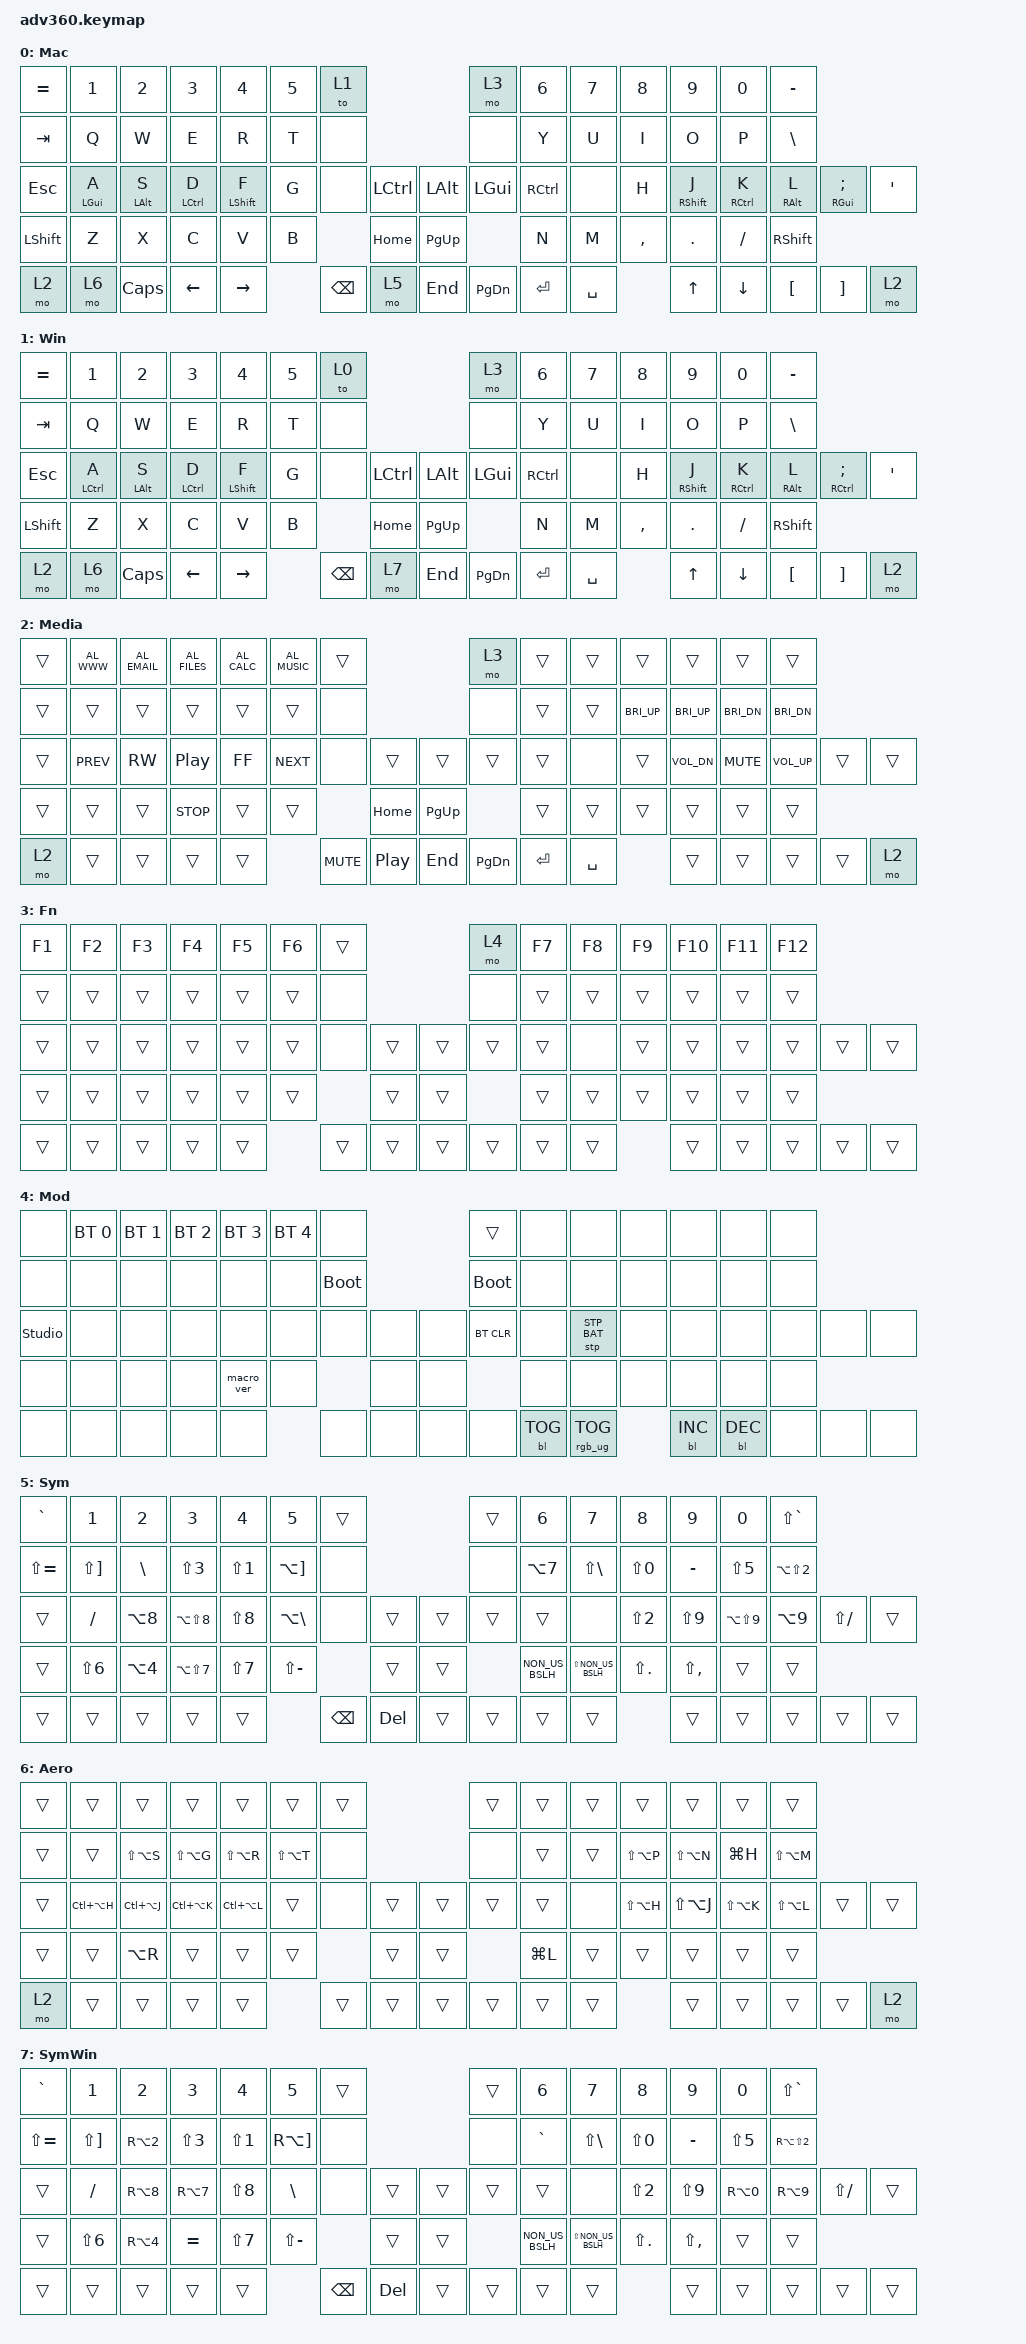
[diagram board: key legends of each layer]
/*
 * ╔══════════════════════════════════════════════════════════════════════════════╗
 * ║           Kinesis Advantage 360 Pro — Custom ZMK Keymap                    ║
 * ║                                                                              ║
 * ║  OS Target  : macOS (Layer 0) + Windows (Layer 1)                           ║
 * ║  Language   : Norwegian / Nordic input source                               ║
 * ║                                                                              ║
 * ║  Layer map:                                                                  ║
 * ║    0  Mac      — Base layer, macOS homerow mods (GUI/Alt/Ctrl/Shift)        ║
 * ║    1  Win      — Base layer, Windows homerow mods (Ctrl/Alt/Ctrl/Shift)     ║
 * ║    2  Media    — Transport, volume, brightness, app launchers               ║
 * ║    3  Fn       — F1–F12 function keys                                       ║
 * ║    4  Mod      — Bluetooth, RGB, backlight, firmware                        ║
 * ║    5  Sym      — Symbols (optimised for macOS Norwegian + ANSI hardware)    ║
 * ╚══════════════════════════════════════════════════════════════════════════════╝
 *
 * ── Physical key grid positions (76 total per layer) ───────────────────────────
 *
 *  Row 1  [ 1– 7]  [ 8–14]   =  1  2  3  4  5  [iL]   [iR]  6  7  8  9  0  -
 *  Row 2  [15–21]  [22–28]   Tab Q  W  E  R  T  [iL]   [iR]  Y  U  I  O  P  \
 *  Row 3  [29–46]  (includes 4 thumb keys at positions 36–39)
 *                            Esc A  S  D  F  G  [iL] TL TR TR TR [iR]  H  J  K  L  ;  '
 *  Row 4  [47–60]  (2 inner keys at positions 53–54)
 *                            LS  Z  X  C  V  B      [Ho][Pu]      N  M  ,  .  /  RS
 *  Row 5  [61–76]  (6 thumb keys at positions 66–71)
 *                            m2  §  Ca ←  →    [T1][T2][T3] [T4][T5][T6]   ↑  ↓  å  ¨  m2
 *
 *  Thumb cluster (positions 66–71):
 *    T1=BSPC  T2=mo5(Sym)  T3=END  │  T4=PgDn  T5=ENTER  T6=SPACE
 *
 * ── macOS Norwegian verified keycode → output reference ────────────────────────
 *
 *   ZMK keycode       Output    ZMK keycode          Output
 *   ──────────────────────────  ──────────────────────────────
 *   All keycodes CONFIRMED on macOS Norwegian + ISO keyboard type (your setup).
 *
 *   ZMK keycode       Output    ZMK keycode          Output
 *   ──────────────────────────  ──────────────────────────────
 *   FSLH              -         LS(FSLH)             _
 *   MINUS             +         LS(MINUS)            ?
 *   BSLH              @  ←!     LS(BSLH)             *
 *   LA(BSLH)          '         LS(EQUAL)            `  (backtick)
 *   EQUAL             ´ (dead)  GRAVE                §
 *   LS(GRAVE)         °         LS(RBKT)             ^
 *   LBKT              å         LS(LBKT)             Å
 *   RBKT              ¨ (dead)  LA(RBKT)             ~  ⚠ dead key
 *   SEMI              ø         LS(SEMI)             Ø
 *   SQT               æ         LS(SQT)              Æ
 *   LS(COMMA)         ;         LS(DOT)              :
 *   LS(N1)            !         LS(N2)               "
 *   LS(N3)            #         LS(N5)               %
 *   LS(N6)            &         LS(N7)               /
 *   LS(N8)            (         LS(N9)               )
 *   LS(N0)            =
 *   LA(N2)            ™         LA(N4)               $
 *   LA(N6)            §  (!)    LA(N7)               |
 *   LA(LS(N7))        \         LA(N8)               [
 *   LA(N9)            ]         LA(LS(N8))           {
 *   LA(LS(N9))        }
 *
 *  ← BSLH = @ is the dedicated @ key on Norwegian ISO — no modifier needed!
 *  ⚠  LA(RBKT) → ~ is a dead key. Works fine, press then Space if needed.
 *  ⚠  < and > require ISO NUBS key, not present on the Adv360.
 *     Workaround: add "ABC" as a second macOS input source for coding.
 */

#include <dt-bindings/zmk/stp.h>
#include <behaviors.dtsi>
#include <dt-bindings/zmk/backlight.h>
#include <dt-bindings/zmk/bt.h>
#include <dt-bindings/zmk/keys.h>
#include <dt-bindings/zmk/rgb.h>

/ {
    behaviors {
        #include "macros.dtsi"
        #include "version.dtsi"

        /*
         * hm — Homerow Mod (hold-tap)
         * Hold = modifier, Tap = character
         * tapping-term-ms 200ms : window to decide tap vs hold
         * quick-tap-ms    175ms : fast double-tap repeats the tap key
         * flavor tap-preferred  : prefers tap unless held past term
         */
        hm: homerow_mods {
            compatible = "zmk,behavior-hold-tap";
            label = "HOMEROW_MODS";
            #binding-cells = <2>;
            tapping-term-ms = <200>;
            quick-tap-ms = <175>;
            flavor = "tap-preferred";
            bindings = <&kp &kp>;
        };
    };

    keymap {
        compatible = "zmk,keymap";

        /* ╔══════════════════════════════════════════════════════════════════╗
           ║  LAYER 0 — MAC BASE                                             ║
           ║                                                                  ║
           ║  QWERTY with macOS homerow mods on ASDF / JKL;                 ║
           ║  Hold: A=GUI  S=Alt  D=Ctrl  F=Shift (mirrored right hand)     ║
           ║  [inner-top-L] = switch to Win layer                            ║
           ║  [T2] = hold for Sym layer (mo 5)                               ║
           ║  [mo2-L/R] = hold for Media layer                               ║
           ╚══════════════════════════════════════════════════════════════════╝ */
        default_layer {
            display-name = "Mac";
            bindings = <
/* ── Row 1: number row ── pos 1–7 left │ pos 8–14 right ── */
/*[1]=     [2]=1     [3]=2     [4]=3     [5]=4     [6]=5     [7]=to-Win       [8]=mo-Fn  [9]=6     [10]=7    [11]=8    [12]=9    [13]=0    [14]=+     */
  &kp EQUAL &kp N1    &kp N2    &kp N3    &kp N4    &kp N5    &to 1                      &mo 3      &kp N6    &kp N7    &kp N8    &kp N9    &kp N0    &kp MINUS
/* ── Row 2: QWERTY top row ── pos 15–21 left │ pos 22–28 right ── */
/*[15]=Tab [16]=Q    [17]=W    [18]=E    [19]=R    [20]=T    [21]=none        [22]=none  [23]=Y    [24]=U    [25]=I    [26]=O    [27]=P    [28]='    */
  &kp TAB   &kp Q     &kp W     &kp E     &kp R     &kp T     &none                      &none      &kp Y     &kp U     &kp I     &kp O     &kp P     &kp BSLH
/* ── Row 3: home row + 4 thumb keys (pos 36–39) ── pos 29–35 left │ 36–39 thumbs │ 40–46 right ── */
/*[29]=Esc [30]=A    [31]=S    [32]=D    [33]=F    [34]=G    [35]=none [36]=Ctrl [37]=Alt  [38]=GUI  [39]=Ctrl [40]=none [41]=H    [42]=J    [43]=K    [44]=L    [45]=ø    [46]=æ   */
  &kp ESC   &hm LGUI A &hm LALT S &hm LCTRL D &hm LSHFT F &kp G &none  &kp LCTRL &kp LALT  &kp LGUI  &kp RCTRL &none     &kp H     &hm RSHFT J &hm RCTRL K &hm RALT L &hm RGUI SEMI &kp SQT
/* ── Row 4: bottom row + 2 inner thumb-adjacent keys (pos 53–54) ── pos 47–52 left │ 53–54 inner │ 55–60 right ── */
/*[47]=LS  [48]=Z    [49]=X    [50]=C    [51]=V    [52]=B    [53]=Home [54]=PgUp [55]=N    [56]=M    [57]=,    [58]=.    [59]=-    [60]=RS   */
  &kp LSHFT &kp Z     &kp X     &kp C     &kp V     &kp B               &kp HOME  &kp PG_UP           &kp N     &kp M     &kp COMMA &kp DOT   &kp FSLH  &kp RSHFT
/* ── Row 5: nav row + 6 thumb keys (pos 66–71) ── pos 61–65 left │ 66–71 thumbs │ 72–76 right ── */
/*[61]=m2  [62]=Aero [63]=Caps [64]=←    [65]=→    [66]=BSPC [67]=Sym  [68]=End  [69]=PgDn [70]=Ent  [71]=Spc  [72]=↑    [73]=↓    [74]=å    [75]=¨    [76]=m2   */
  &mo 2     &mo 6     &kp CAPS  &kp LEFT  &kp RIGHT           &kp BSPC  &mo 5     &kp END   &kp PG_DN &kp ENTER &kp SPACE           &kp UP    &kp DOWN  &kp LBKT  &kp RBKT  &mo 2
            >;
        };

        /* ╔══════════════════════════════════════════════════════════════════╗
           ║  LAYER 1 — WINDOWS BASE                                         ║
           ║                                                                  ║
           ║  Same layout as Mac but homerow mods adjusted for Windows:      ║
           ║  Hold: A=Ctrl  S=Alt  D=Ctrl  F=Shift                          ║
           ║  T2 = Sym layer (same as Mac)                                   ║
           ╚══════════════════════════════════════════════════════════════════╝ */
        win_layer {
            display-name = "Win";
            bindings = <
/* ── Row 1 ── */
/*[1]=     [2]=1     [3]=2     [4]=3     [5]=4     [6]=5     [7]=to-Mac       [8]=mo-Fn  [9]=6     [10]=7    [11]=8    [12]=9    [13]=0    [14]=+    */
  &kp EQUAL &kp N1    &kp N2    &kp N3    &kp N4    &kp N5    &to 0                      &mo 3      &kp N6    &kp N7    &kp N8    &kp N9    &kp N0    &kp MINUS
/* ── Row 2 ── */
/*[15]=Tab [16]=Q    [17]=W    [18]=E    [19]=R    [20]=T    [21]=none        [22]=none  [23]=Y    [24]=U    [25]=I    [26]=O    [27]=P    [28]='    */
  &kp TAB   &kp Q     &kp W     &kp E     &kp R     &kp T     &none                      &none      &kp Y     &kp U     &kp I     &kp O     &kp P     &kp BSLH
/* ── Row 3 + thumbs ── */
/*[29]=Esc [30]=A    [31]=S    [32]=D    [33]=F    [34]=G    [35]=none [36]=Ctrl [37]=Alt  [38]=GUI  [39]=Ctrl [40]=none [41]=H    [42]=J    [43]=K    [44]=L    [45]=ø    [46]=æ   */
  &kp ESC   &hm LCTRL A &hm LALT S &hm LCTRL D &hm LSHFT F &kp G &none &kp LCTRL &kp LALT  &kp LGUI  &kp RCTRL &none     &kp H     &hm RSHFT J &hm RCTRL K &hm RALT L &hm RCTRL SEMI &kp SQT
/* ── Row 4 ── */
/*[47]=LS  [48]=Z    [49]=X    [50]=C    [51]=V    [52]=B    [53]=Home [54]=PgUp [55]=N    [56]=M    [57]=,    [58]=.    [59]=-    [60]=RS   */
  &kp LSHFT &kp Z     &kp X     &kp C     &kp V     &kp B               &kp HOME  &kp PG_UP           &kp N     &kp M     &kp COMMA &kp DOT   &kp FSLH  &kp RSHFT
/* ── Row 5 + thumbs ── */
/*[61]=m2  [62]=Aero [63]=Caps [64]=←    [65]=→    [66]=BSPC [67]=SymW [68]=End  [69]=PgDn [70]=Ent  [71]=Spc  [72]=↑    [73]=↓    [74]=å    [75]=¨    [76]=m2   */
  &mo 2     &mo 6     &kp CAPS  &kp LEFT  &kp RIGHT           &kp BSPC  &mo 7     &kp END   &kp PG_DN &kp ENTER &kp SPACE           &kp UP    &kp DOWN  &kp LBKT  &kp RBKT  &mo 2
            >;
        };

        /* ╔══════════════════════════════════════════════════════════════════╗
           ║  LAYER 2 — MEDIA                                                 ║
           ║                                                                  ║
           ║  Left hand  → Playback transport                                 ║
           ║  Right hand → Volume + Brightness                                ║
           ║  Row 1      → App launchers (browser, mail, files, calc, music)  ║
           ║  Thumb T1   → Mute     Thumb T2 → Play/Pause                    ║
           ║                                                                  ║
           ║  Home row transport (left hand):                                 ║
           ║    A=|<<   S=◀◀   D=▶/⏸   F=▶▶   G=>>|                        ║
           ║  Home row volume (right hand):                                   ║
           ║    J=Vol-   K=Mute   L=Vol+                                     ║
           ╚══════════════════════════════════════════════════════════════════╝ */
        media {
            display-name = "Media";
            bindings = <
/* ── Row 1: app launchers on inner keys ── */
/*[1]=     [2]=Web   [3]=Mail  [4]=Files [5]=Calc  [6]=Music [7]=trans        [8]=mo-Fn  [9]=trans [10]=trans[11]=trans[12]=trans[13]=trans[14]=trans */
  &trans    &kp C_AL_WWW &kp C_AL_EMAIL &kp C_AL_FILES &kp C_AL_CALC &kp C_AL_MUSIC &trans   &mo 3      &trans    &trans    &trans    &trans    &trans    &trans
/* ── Row 2: brightness on right hand ── */
/*[15]=tr  [16]=tr   [17]=tr   [18]=tr   [19]=tr   [20]=tr   [21]=none        [22]=none  [23]=tr   [24]=tr   [25]=Br+  [26]=Br+  [27]=Br-  [28]=Br-  */
  &trans    &trans    &trans    &trans    &trans    &trans    &none                      &none      &trans    &trans    &kp C_BRI_UP &kp C_BRI_UP &kp C_BRI_DN &kp C_BRI_DN
/* ── Row 3: transport left / volume right + thumbs pass-through ── */
/*[29]=tr  [30]=|<<  [31]=◀◀   [32]=▶/⏸ [33]=▶▶   [34]=>>|  [35]=none [36]=tr   [37]=tr   [38]=tr   [39]=tr   [40]=none [41]=tr   [42]=Vol- [43]=Mute [44]=Vol+ [45]=tr   [46]=tr  */
  &trans    &kp C_PREV &kp C_RW &kp C_PP  &kp C_FF  &kp C_NEXT &none   &trans    &trans    &trans    &trans    &none     &trans    &kp C_VOL_DN &kp C_MUTE &kp C_VOL_UP &trans  &trans
/* ── Row 4: stop on left, nav pass-through ── */
/*[47]=tr  [48]=tr   [49]=tr   [50]=Stop [51]=tr   [52]=tr   [53]=Home [54]=PgUp [55]=tr   [56]=tr   [57]=tr   [58]=tr   [59]=tr   [60]=tr   */
  &trans    &trans    &trans    &kp C_STOP &trans   &trans              &kp HOME  &kp PG_UP           &trans    &trans    &trans    &trans    &trans    &trans
/* ── Row 5: Mute on T1, Play/Pause on T2, rest pass-through ── */
/*[61]=m2  [62]=tr   [63]=tr   [64]=tr   [65]=tr   [66]=Mute [67]=▶/⏸ [68]=End  [69]=PgDn [70]=Ent  [71]=Spc  [72]=tr   [73]=tr   [74]=tr   [75]=tr   [76]=m2   */
  &mo 2     &trans    &trans    &trans    &trans              &kp C_MUTE &kp C_PP &kp END   &kp PG_DN &kp ENTER &kp SPACE           &trans    &trans    &trans    &trans    &mo 2
            >;
        };

        /* ╔══════════════════════════════════════════════════════════════════╗
           ║  LAYER 3 — FN (FUNCTION KEYS)                                    ║
           ║                                                                  ║
           ║  F1–F6 on left number row, F7–F12 on right number row            ║
           ║  All other keys transparent (pass through to active base layer)  ║
           ╚══════════════════════════════════════════════════════════════════╝ */
        fn {
            display-name = "Fn";
            bindings = <
/* ── Row 1: F keys ── */
/*[1]=F1   [2]=F2    [3]=F3    [4]=F4    [5]=F5    [6]=F6    [7]=trans        [8]=mo-Mod [9]=F7    [10]=F8   [11]=F9   [12]=F10  [13]=F11  [14]=F12  */
  &kp F1    &kp F2    &kp F3    &kp F4    &kp F5    &kp F6    &trans                     &mo 4      &kp F7    &kp F8    &kp F9    &kp F10   &kp F11   &kp F12
/* ── Rows 2–5: all transparent ── */
  &trans    &trans    &trans    &trans    &trans    &trans    &none                      &none      &trans    &trans    &trans    &trans    &trans    &trans
  &trans    &trans    &trans    &trans    &trans    &trans    &none     &trans    &trans    &trans    &trans    &none     &trans    &trans    &trans    &trans    &trans    &trans
  &trans    &trans    &trans    &trans    &trans    &trans              &trans    &trans              &trans    &trans    &trans    &trans    &trans    &trans
  &trans    &trans    &trans    &trans    &trans              &trans    &trans    &trans    &trans    &trans    &trans              &trans    &trans    &trans    &trans    &trans
            >;
        };

        /* ╔══════════════════════════════════════════════════════════════════╗
           ║  LAYER 4 — MOD (BLUETOOTH / RGB / BACKLIGHT / FIRMWARE)         ║
           ║                                                                  ║
           ║  Row 1  N1–N5 : Bluetooth profile select 0–4                    ║
           ║  Row 2  inner : Bootloader on both inner column keys             ║
           ║  Row 3  left  : studio_unlock (enables ZMK Studio live edit)     ║
           ║  Row 3  right : BT clear, battery status                         ║
           ║  Row 4  V     : firmware version macro                           ║
           ║  Row 5  T5/T6 : backlight toggle/inc/dec + RGB toggle            ║
           ╚══════════════════════════════════════════════════════════════════╝ */
        mod {
            display-name = "Mod";
            bindings = <
/* ── Row 1: Bluetooth profile select ── */
/*[1]=none [2]=BT0   [3]=BT1   [4]=BT2   [5]=BT3   [6]=BT4   [7]=none         [8]=trans  [9]=none  [10]=none [11]=none [12]=none [13]=none [14]=none */
  &none     &bt BT_SEL 0 &bt BT_SEL 1 &bt BT_SEL 2 &bt BT_SEL 3 &bt BT_SEL 4 &none       &trans     &none     &none     &none     &none     &none     &none
/* ── Row 2: bootloader on both inner column keys ── */
/*[15]=none[16]=none [17]=none [18]=none [19]=none [20]=none [21]=BOOT        [22]=BOOT  [23]=none [24]=none [25]=none [26]=none [27]=none [28]=none */
  &none     &none     &none     &none     &none     &none     &bootloader                &bootloader &none     &none     &none     &none     &none     &none
/* ── Row 3: studio unlock left / BT clear + battery right ── */
/*[29]=UNLK[30]=none [31]=none [32]=none [33]=none [34]=none [35]=none [36]=none [37]=none [38]=BTclr[39]=none [40]=BAT  [41]=none [42]=none [43]=none [44]=none [45]=none [46]=none */
  &studio_unlock &none &none   &none     &none     &none     &none     &none     &none     &bt BT_CLR &none    &stp STP_BAT &none  &none     &none     &none     &none     &none
/* ── Row 4: firmware version on V key ── */
/*[47]=none[48]=none [49]=none [50]=none [51]=FWver[52]=none [53]=none [54]=none [55]=none [56]=none [57]=none [58]=none [59]=none [60]=none */
  &none     &none     &none     &none     &macro_ver &none               &none     &none               &none     &none     &none     &none     &none     &none
/* ── Row 5: backlight and RGB on thumb cluster ── */
/*[61]=none[62]=none [63]=none [64]=none [65]=none [66]=none [67]=none [68]=none [69]=none [70]=BLtog[71]=RGBtg[72]=BLinc[73]=BLdec[74]=none [75]=none [76]=none */
  &none     &none     &none     &none     &none               &none     &none     &none     &none     &bl BL_TOG &rgb_ug RGB_TOG     &bl BL_INC &bl BL_DEC &none   &none     &none
            >;
        };

        /* ╔══════════════════════════════════════════════════════════════════╗
           ║  LAYER 5 — SYM (SYMBOLS)                                        ║
           ║                                                                  ║
           ║  Hold [T2] on base layer to activate.                            ║
           ║                                                                  ║
           ║  Home row — left opens, right closes:                            ║
           ║    A={   S=[   D=(   F=|   G=\                                  ║
           ║    H=/   J=)   K=]   L=}   ;=~                                  ║
           ║                                                                  ║
           ║  Upper row (QWERTY keys):                                        ║
           ║    Tab=`  Q=!  W=@  E=#  R=$  T=%                               ║
           ║    Y=^   U=&   I=*  O=+  P==  \=€                               ║
           ║                                                                  ║
           ║  Lower row:                                                      ║
           ║    Z=;   X=:   C=,   V=.   B=?   N="   M=-   ,=_               ║
           ║                                                                  ║
           ║  Number row edges: = → §   - → °                                ║
           ║                                                                  ║
           ║  All confirmed on macOS Norwegian ISO + Ghostty                  ║
           ║  (macos-option-as-alt = false required in Ghostty config)        ║
           ╚══════════════════════════════════════════════════════════════════╝ */
        symbol {
            display-name = "Sym";
            bindings = <

/* ── Row 1: § on far left, numbers pass through, ° on far right ── */
/*[1]=§    [2]=1     [3]=2     [4]=3     [5]=4     [6]=5     [7]=trans        [8]=trans  [9]=6     [10]=7    [11]=8    [12]=9    [13]=0    [14]=°    */
  &kp GRAVE &kp N1    &kp N2    &kp N3    &kp N4    &kp N5    &trans                     &trans     &kp N6    &kp N7    &kp N8    &kp N9    &kp N0    &kp LS(GRAVE)

/* ── Row 2: Q=^  W=@  E=#  R=!  T=~  │  Y=|  U=*  I==  O=+  P=%  \=€ ── */
/*[15]=`   [16]=^    [17]=@    [18]=#    [19]=!    [20]=~    [21]=none        [22]=none  [23]=|    [24]=*    [25]==    [26]=+    [27]=%    [28]=€    */
/* Tab=`(bonus)  W=@ via BSLH (dedicated @ key, no modifier)                 */
/* T=~ via LA(RBKT) — dead key, works fine, press then Space if needed        */
/* N/M=<> via NON_US_BSLH — works if macOS detected keyboard as ISO type      */
  &kp LS(EQUAL) &kp LS(RBKT) &kp BSLH &kp LS(N3) &kp LS(N1) &kp LA(RBKT) &none        &none      &kp LA(N7) &kp LS(BSLH) &kp LS(N0) &kp MINUS &kp LS(N5) &kp LA(LS(N2))

/* ── Row 3: HOME ROW — A=-  S=[  D={  F=(  G='  │  H="  J=)  K=}  L=]  ø=_ ── */
/*[29]=tr  [30]=-    [31]=[    [32]={    [33]=(    [34]='    [35]=none [36]=tr [37]=tr [38]=tr [39]=tr [40]=none [41]="    [42]=)    [43]=}    [44]=]    [45]=_    [46]=tr  */
  &trans    &kp FSLH  &kp LA(N8) &kp LA(LS(N8)) &kp LS(N8) &kp LA(BSLH) &none  &trans  &trans  &trans  &trans  &none  &kp LS(N2) &kp LS(N9) &kp LA(LS(N9)) &kp LA(N9) &kp LS(FSLH) &trans

/* ── Row 4: Z=&  X=$  C=\  V=/  B=?  │  N=<  M=>  ,=:  .=;  ── */
/*[47]=tr  [48]=&    [49]=$    [50]=\    [51]=/    [52]=?    [53]=tr   [54]=tr   [55]=<    [56]=>    [57]=:    [58]=;    [59]=tr   [60]=tr   */
  &trans    &kp LS(N6) &kp LA(N4) &kp LA(LS(N7)) &kp LS(N7) &kp LS(MINUS)  &trans  &trans  &kp NON_US_BSLH &kp LS(NON_US_BSLH) &kp LS(DOT) &kp LS(COMMA) &trans &trans

/* ── Row 5: BSPC on T1, DEL on T2, rest transparent ── */
/*[61]=tr  [62]=tr   [63]=tr   [64]=tr   [65]=tr   [66]=BSPC [67]=DEL  [68]=tr   [69]=tr   [70]=tr   [71]=tr   [72]=tr   [73]=tr   [74]=tr   [75]=tr   [76]=tr   */
  &trans    &trans    &trans    &trans    &trans              &kp BSPC  &kp DEL   &trans    &trans    &trans    &trans              &trans    &trans    &trans    &trans    &trans

            >;
        };

        /* ── Reserved layers ─────────────────────────────────────────────── */

        /* ╔══════════════════════════════════════════════════════════════════╗
           ║  LAYER 6 — AEROSPACE (window manager)                            ║
           ║                                                                  ║
           ║  Activated by holding the § key (pos 62, bottom-left area).      ║
           ║                                                                  ║
           ║  Focus windows  : H J K L  (shift-alt-h/j/k/l)                  ║
           ║  Move window    : A S D F  (ctrl-alt-h/j/k/l)                   ║
           ║  Move to monitor: W E      (shift-alt-s / shift-alt-g)           ║
           ║  Move to ws     : I O      (shift-alt-p / shift-alt-n)           ║
           ║  Workspace prev : P        (cmd-h)                               ║
           ║  Workspace next : N        (cmd-l)                               ║
           ║  Resize mode    : X        (alt-r, then hjkl, ESC to exit)       ║
           ║  Fullscreen     : \        (shift-alt-m)                         ║
           ║  Rotate layout  : R        (shift-alt-r)                         ║
           ║  Float/tile     : T        (shift-alt-t)                         ║
           ╚══════════════════════════════════════════════════════════════════╝ */
        aerospace {
            display-name = "Aero";
            bindings = <

/* ── Row 1: all transparent ── */
  &trans    &trans    &trans    &trans    &trans    &trans    &trans                     &trans     &trans    &trans    &trans    &trans    &trans    &trans

/* ── Row 2: W=mon←  E=mon→  R=rotate  T=float/tile  │  I=ws-prev  O=ws-next  P=ws-prev  \=fullscr ── */
/*[15]=tr  [16]=tr   [17]=mon← [18]=mon→ [19]=rot  [20]=flt  [21]=none        [22]=none  [23]=tr   [24]=tr   [25]=ws←  [26]=ws→  [27]=ws-p [28]=full */
  &trans    &trans    &kp LS(LA(S)) &kp LS(LA(G)) &kp LS(LA(R)) &kp LS(LA(T)) &none    &none      &trans    &trans    &kp LS(LA(P)) &kp LS(LA(N)) &kp LG(H) &kp LS(LA(M))

/* ── Row 3: A=move←  S=move↓  D=move↑  F=move→  │  H=focus←  J=focus↓  K=focus↑  L=focus→ ── */
/*[29]=tr  [30]=mv←  [31]=mv↓  [32]=mv↑  [33]=mv→  [34]=tr   [35]=none [36]=tr [37]=tr [38]=tr [39]=tr [40]=none [41]=fc←  [42]=fc↓  [43]=fc↑  [44]=fc→  [45]=tr   [46]=tr  */
  &trans    &kp LC(LA(H)) &kp LC(LA(J)) &kp LC(LA(K)) &kp LC(LA(L)) &trans &none  &trans  &trans  &trans  &trans  &none  &kp LS(LA(H)) &kp LS(LA(J)) &kp LS(LA(K)) &kp LS(LA(L)) &trans &trans

/* ── Row 4: X=resize mode  │  N=ws-next ── */
/*[47]=tr  [48]=tr   [49]=rsz  [50]=tr   [51]=tr   [52]=tr   [53]=tr   [54]=tr   [55]=ws+  [56]=tr   [57]=tr   [58]=tr   [59]=tr   [60]=tr   */
  &trans    &trans    &kp LA(R) &trans    &trans    &trans              &trans    &trans              &kp LG(L) &trans    &trans    &trans    &trans    &trans

/* ── Row 5: layer key itself is here (trans when held), keep media and thumbs ── */
/*[61]=m2  [62]=self [63]=tr   [64]=tr   [65]=tr   [66]=tr   [67]=tr   [68]=tr   [69]=tr   [70]=tr   [71]=tr   [72]=tr   [73]=tr   [74]=tr   [75]=tr   [76]=m2   */
  &mo 2     &trans    &trans    &trans    &trans              &trans    &trans    &trans    &trans    &trans    &trans              &trans    &trans    &trans    &trans    &mo 2

            >;
        };

        /* ╔══════════════════════════════════════════════════════════════════╗
           ║  LAYER 7 — SYM WINDOWS                                           ║
           ║                                                                  ║
           ║  Same layout as Layer 5 (Mac Sym) — all confirmed keycodes       ║
           ║  for Windows Norwegian ISO keyboard.                              ║
           ║                                                                  ║
           ║  Key differences from macOS Norwegian:                           ║
           ║    @  = RA(N2)   not BSLH                                        ║
           ║    '  = BSLH     not RA(BSLH)                                    ║
           ║    |  = GRAVE    (bare key left of 1)                             ║
           ║    \  = EQUAL    (bare key next to backspace)                     ║
           ║    {  = RA(N7)   not RA(LS(N8))                                  ║
           ║    }  = RA(N0)   not RA(LS(N9))                                  ║
           ║    [  = RA(N8)   same as macOS                                    ║
           ║    ]  = RA(N9)   same as macOS                                    ║
           ╚══════════════════════════════════════════════════════════════════╝ */
        sym_win {
            display-name = "SymWin";
            bindings = <

/* ── Row 1: § on far left, numbers pass through, ° on far right ── */
/*[1]=§    [2]=1     [3]=2     [4]=3     [5]=4     [6]=5     [7]=trans        [8]=trans  [9]=6     [10]=7    [11]=8    [12]=9    [13]=0    [14]=°    */
  &kp GRAVE &kp N1    &kp N2    &kp N3    &kp N4    &kp N5    &trans                     &trans     &kp N6    &kp N7    &kp N8    &kp N9    &kp N0    &kp LS(GRAVE)

/* ── Row 2: Q=^  W=@  E=#  R=!  T=~  │  Y=|  U=*  I==  O=+  P=%  \=€ ── */
/*[15]=`   [16]=^    [17]=@    [18]=#    [19]=!    [20]=~    [21]=none        [22]=none  [23]=|    [24]=*    [25]==    [26]=+    [27]=%    [28]=€    */
/* Tab=` via LS(EQUAL)   W=@ via RA(N2)   Y=| via GRAVE(bare, left of 1)     */
/* T=~ via RA(RBKT)      €  via RA(LS(N2))                                   */
  &kp LS(EQUAL) &kp LS(RBKT) &kp RA(N2) &kp LS(N3) &kp LS(N1) &kp RA(RBKT) &none       &none      &kp GRAVE &kp LS(BSLH) &kp LS(N0) &kp MINUS &kp LS(N5) &kp RA(LS(N2))

/* ── Row 3: HOME ROW — A=-  S=[  D={  F=(  G='  │  H="  J=)  K=}  L=]  ø=_ ── */
/*[29]=tr  [30]=-    [31]=[    [32]={    [33]=(    [34]='    [35]=none [36]=tr [37]=tr [38]=tr [39]=tr [40]=none [41]="    [42]=)    [43]=}    [44]=]    [45]=_    [46]=tr  */
/* G=' via BSLH(bare)   D={ via RA(N7)   K=} via RA(N0)                      */
  &trans    &kp FSLH  &kp RA(N8) &kp RA(N7) &kp LS(N8) &kp BSLH  &none  &trans  &trans  &trans  &trans  &none  &kp LS(N2) &kp LS(N9) &kp RA(N0) &kp RA(N9) &kp LS(FSLH) &trans

/* ── Row 4: Z=&  X=$  C=\  V=/  B=?  │  N=<  M=>  ,=:  .=;  ── */
/*[47]=tr  [48]=&    [49]=$    [50]=\    [51]=/    [52]=?    [53]=tr   [54]=tr   [55]=<    [56]=>    [57]=:    [58]=;    [59]=tr   [60]=tr   */
/* C=\ via EQUAL(bare, the key next to backspace)                             */
  &trans    &kp LS(N6) &kp RA(N4) &kp EQUAL  &kp LS(N7) &kp LS(MINUS)  &trans  &trans  &kp NON_US_BSLH &kp LS(NON_US_BSLH) &kp LS(DOT) &kp LS(COMMA) &trans &trans

/* ── Row 5: BSPC on T1, DEL on T2, rest transparent ── */
/*[61]=tr  [62]=tr   [63]=tr   [64]=tr   [65]=tr   [66]=BSPC [67]=DEL  [68]=tr   [69]=tr   [70]=tr   [71]=tr   [72]=tr   [73]=tr   [74]=tr   [75]=tr   [76]=tr   */
  &trans    &trans    &trans    &trans    &trans              &kp BSPC  &kp DEL   &trans    &trans    &trans    &trans              &trans    &trans    &trans    &trans    &trans

            >;
        };

        /* Layer 8 — Reserved (Cyan in ZMK Studio) */
        extra3 {
            display-name = "Cyan";
            status = "reserved";
        };

    }; /* end keymap */
}; /* end root node */
